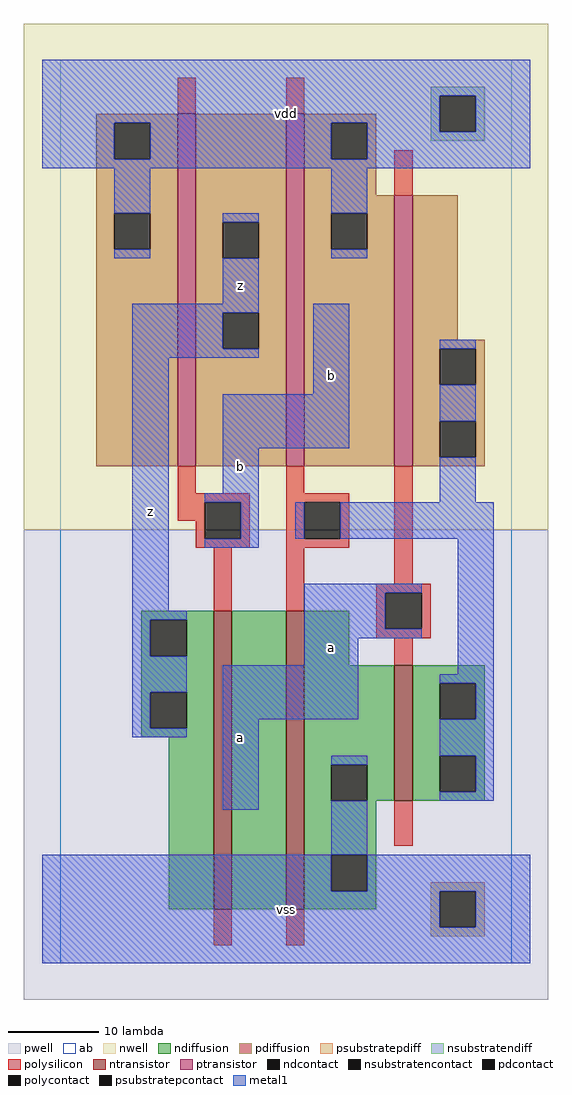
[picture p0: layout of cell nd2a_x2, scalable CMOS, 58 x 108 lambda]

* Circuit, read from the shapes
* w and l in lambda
.subckt nd2a_x2 a b vdd vss z
M1 n1 b z vss nfet w=33 l=2
M2 vss n2 n1 vss nfet w=33 l=2
M3 n2 a vss vss nfet w=15 l=2
M4 z b vdd vdd pfet w=39 l=2
M5 vdd n2 z vdd pfet w=39 l=2
M6 n2 a vdd vdd pfet w=30 l=2
.ends

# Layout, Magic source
magic
tech scmos
<< ab >>
rect 0 0 50 100
<< pwell >>
rect -4 -4 54 48
<< nwell >>
rect -4 48 54 104
<< polysilicon >>
rect 13 94 15 98
rect 25 94 27 98
rect 37 85 39 90
rect 13 52 15 55
rect 25 52 27 55
rect 13 51 21 52
rect 13 49 16 51
rect 15 47 16 49
rect 20 47 21 51
rect 15 46 21 47
rect 25 51 32 52
rect 25 47 27 51
rect 31 47 32 51
rect 25 46 32 47
rect 17 39 19 46
rect 25 39 27 46
rect 37 42 39 55
rect 35 41 41 42
rect 35 37 36 41
rect 40 37 41 41
rect 35 36 41 37
rect 37 33 39 36
rect 37 13 39 18
rect 17 2 19 6
rect 25 2 27 6
<< ndiffusion >>
rect 9 38 17 39
rect 9 34 10 38
rect 14 34 17 38
rect 9 30 17 34
rect 9 26 10 30
rect 14 26 17 30
rect 9 25 17 26
rect 12 6 17 25
rect 19 6 25 39
rect 27 33 32 39
rect 27 22 37 33
rect 27 18 30 22
rect 34 18 37 22
rect 39 31 47 33
rect 39 27 42 31
rect 46 27 47 31
rect 39 23 47 27
rect 39 19 42 23
rect 46 19 47 23
rect 39 18 47 19
rect 27 12 35 18
rect 27 8 30 12
rect 34 8 35 12
rect 27 6 35 8
<< pdiffusion >>
rect 4 93 13 94
rect 4 89 6 93
rect 10 89 13 93
rect 4 83 13 89
rect 4 79 6 83
rect 10 79 13 83
rect 4 55 13 79
rect 15 82 25 94
rect 15 78 18 82
rect 22 78 25 82
rect 15 72 25 78
rect 15 68 18 72
rect 22 68 25 72
rect 15 55 25 68
rect 27 93 35 94
rect 27 89 30 93
rect 34 89 35 93
rect 27 85 35 89
rect 27 83 37 85
rect 27 79 30 83
rect 34 79 37 83
rect 27 55 37 79
rect 39 69 44 85
rect 39 68 47 69
rect 39 64 42 68
rect 46 64 47 68
rect 39 60 47 64
rect 39 56 42 60
rect 46 56 47 60
rect 39 55 47 56
<< metal1 >>
rect -2 96 52 100
rect -2 93 42 96
rect -2 89 6 93
rect 10 89 30 93
rect 34 92 42 93
rect 46 92 52 96
rect 34 89 52 92
rect -2 88 52 89
rect 6 83 10 88
rect 30 83 34 88
rect 6 78 10 79
rect 18 82 22 83
rect 30 78 34 79
rect 18 73 22 78
rect 8 72 22 73
rect 8 68 18 72
rect 8 67 22 68
rect 8 39 12 67
rect 28 63 32 73
rect 18 57 32 63
rect 42 68 46 69
rect 42 60 46 64
rect 18 52 22 57
rect 16 51 22 52
rect 42 51 46 56
rect 20 47 22 51
rect 26 47 27 51
rect 31 47 48 51
rect 16 46 22 47
rect 27 41 40 42
rect 8 38 14 39
rect 8 34 10 38
rect 8 30 14 34
rect 27 37 36 41
rect 27 36 40 37
rect 27 33 33 36
rect 8 26 10 30
rect 8 25 14 26
rect 18 27 33 33
rect 44 32 48 47
rect 42 31 48 32
rect 46 27 48 31
rect 18 17 22 27
rect 42 23 48 27
rect 30 22 34 23
rect 46 19 48 23
rect 42 18 48 19
rect 30 12 34 18
rect -2 8 30 12
rect 34 8 52 12
rect -2 4 42 8
rect 46 4 52 8
rect -2 0 52 4
<< ntransistor >>
rect 17 6 19 39
rect 25 6 27 39
rect 37 18 39 33
<< ptransistor >>
rect 13 55 15 94
rect 25 55 27 94
rect 37 55 39 85
<< polycontact >>
rect 16 47 20 51
rect 27 47 31 51
rect 36 37 40 41
<< ndcontact >>
rect 10 34 14 38
rect 10 26 14 30
rect 30 18 34 22
rect 42 27 46 31
rect 42 19 46 23
rect 30 8 34 12
<< pdcontact >>
rect 6 89 10 93
rect 6 79 10 83
rect 18 78 22 82
rect 18 68 22 72
rect 30 89 34 93
rect 30 79 34 83
rect 42 64 46 68
rect 42 56 46 60
<< psubstratepcontact >>
rect 42 4 46 8
<< nsubstratencontact >>
rect 42 92 46 96
<< psubstratepdiff >>
rect 41 8 47 9
rect 41 4 42 8
rect 46 4 47 8
rect 41 3 47 4
<< nsubstratendiff >>
rect 41 96 47 97
rect 41 92 42 96
rect 46 92 47 96
rect 41 91 47 92
<< labels >>
rlabel metal1 20 25 20 25 6 a
rlabel metal1 10 50 10 50 6 z
rlabel metal1 20 55 20 55 6 b
rlabel metal1 20 75 20 75 6 z
rlabel metal1 25 6 25 6 6 vss
rlabel metal1 30 35 30 35 6 a
rlabel metal1 30 65 30 65 6 b
rlabel metal1 25 94 25 94 6 vdd
<< end >>
